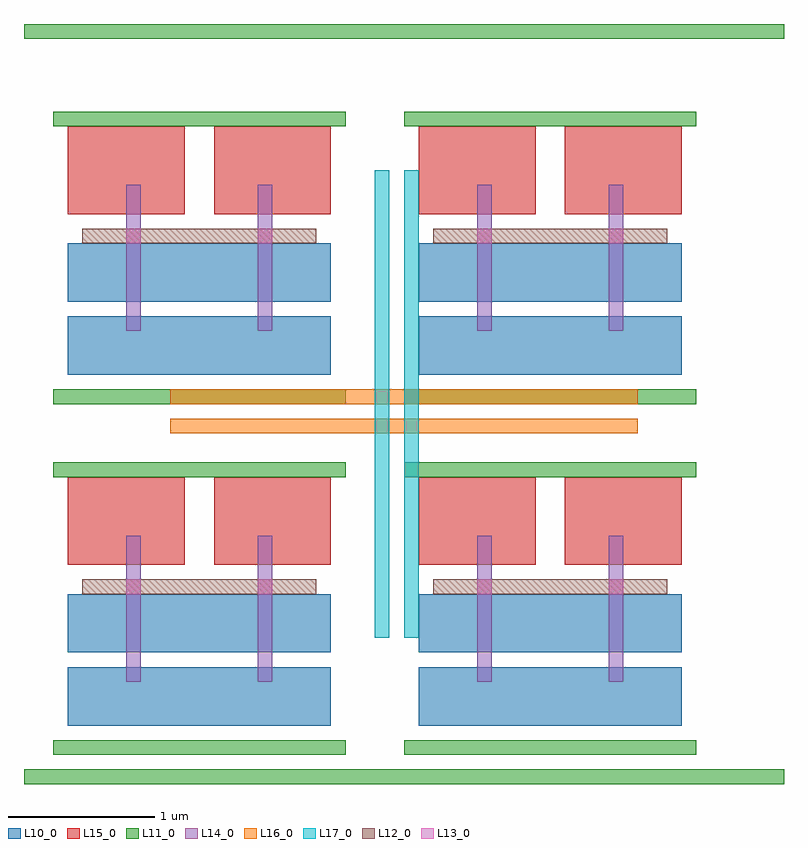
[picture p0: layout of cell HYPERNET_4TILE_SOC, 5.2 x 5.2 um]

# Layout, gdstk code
import gdstk
lib = gdstk.Library(unit=1e-6, precision=1e-09)
def R(c, l, rs):  # rectangles x0, y0, x1, y1
    for r in rs: c.add(gdstk.rectangle(r[:2], r[2:], *l))
L10_0 = (10, 0)
L11_0 = (11, 0)
L12_0 = (12, 0)
L13_0 = (13, 0)
L14_0 = (14, 0)
L15_0 = (15, 0)
L16_0 = (16, 0)
L17_0 = (17, 0)

hypernet_tile = lib.new_cell('HYPERNET_TILE')
R(hypernet_tile, L10_0, [(0.1,0.2,1.9,0.6), (0.1,0.7,1.9,1.1)])
R(hypernet_tile, L11_0, [(0,0,2,0.1), (0,1.9,2,2)])
R(hypernet_tile, L12_0, [(0.2,1.1,1.8,1.2)])
R(hypernet_tile, L13_0, [(0.5,1.1,0.6,1.2), (1.4,1.1,1.5,1.2)])
R(hypernet_tile, L14_0, [(0.5,0.5,0.6,1.5), (1.4,0.5,1.5,1.5)])
R(hypernet_tile, L15_0, [(0.1,1.3,0.9,1.9), (1.1,1.3,1.9,1.9)])

hypernet_4tile_soc = lib.new_cell('HYPERNET_4TILE_SOC')
R(hypernet_4tile_soc, L11_0, [(0,0,5.2,0.1), (0,5.1,5.2,5.2)])
R(hypernet_4tile_soc, L16_0, [(1,2.4,4.2,2.5), (1,2.6,4.2,2.7)])
R(hypernet_4tile_soc, L17_0, [(2.4,1,2.5,4.2), (2.6,1,2.7,4.2)])
r = gdstk.Reference(hypernet_tile, (0.2,0.2)); r.repetition = gdstk.Repetition(2, 2, v1=(2.4,0), v2=(0,2.4)); hypernet_4tile_soc.add(r)

lib.write_gds('HYPERNET_4TILE_SOC.gds')
